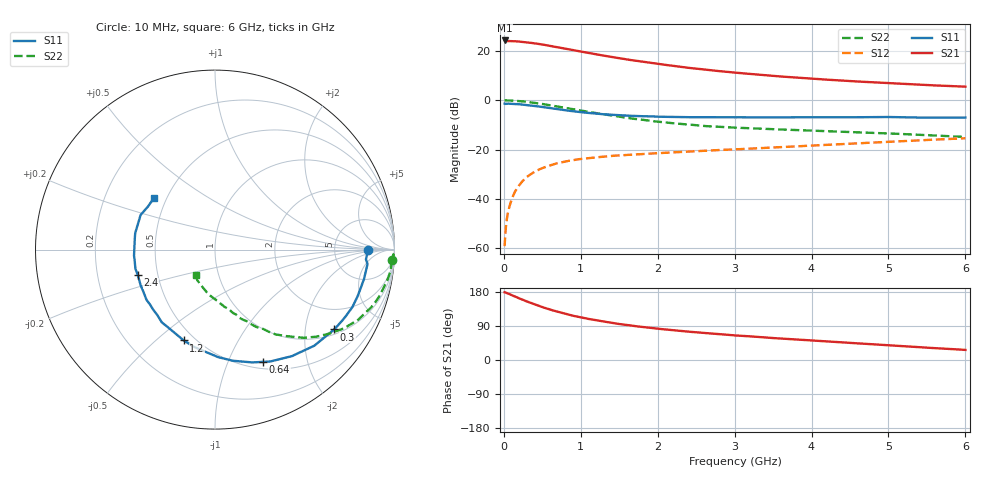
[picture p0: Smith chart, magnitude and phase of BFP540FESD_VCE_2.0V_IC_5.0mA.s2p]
! Infineon Technologies  Discrete & RF Semiconductors
! BFP540FESD
! VCE =  2.0 V,  IC =  5.0 mA
! Common Emitter S-Parameters:  Nov 2015
# GHz  S  MA  R  50
!  f  S11  S21  S12  S22
! GHz  MAG  ANG  MAG  ANG  MAG  ANG  MAG  ANG
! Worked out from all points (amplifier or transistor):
!   210 points, 10 MHz to 6 GHz, reference 50 ohm
!   highest |S21| = 24.2 dB at 10 MHz (marker M1)
!   |S21| within 3 dB of that: start of sweep to 742.8 MHz
!   unconditionally stable (mu >= 1): 2.727 GHz to end of sweep
!   at 185 MHz: K = 0.07, MSG = 29.5 dB, |S12| = -35.1 dB
!   at 1.52 GHz: K = 0.63, MSG = 19.6 dB, |S12| = -22.3 dB
!   at 6 GHz: K = 1.31, MAG = 7.1 dB, |S12| = -15.4 dB
!   S11 on the Smith chart (normalised r, x): 10 MHz: 13, -0; 300 MHz: 1.16, -2.87; 640 MHz: 0.58, -1.35; 1.2 GHz: 0.44, -0.62; 2.4 GHz: 0.38, -0.14; 6 GHz: 0.43, +0.31
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0.01  0.8525 -0.3  16.3 178.8  0.0011 74.1  0.9907 -3.5
0.02  0.8427 -3.7  15.83 178.3  0.002 72.8  0.9946 -1.5
0.045  0.8519 -5.1  15.88 176.3  0.0045 86.4  0.9885 -3.1
0.08  0.8482 -8.8  15.83 173.2  0.0077 87.3  0.9858 -5.5
0.15  0.8369 -17.7  15.77 167.2  0.0145 82.0  0.9742 -10.3
0.2  0.8298 -22.7  15.48 162.6  0.0189 79.3  0.9595 -13.7
0.3  0.7997 -33.8  14.96 154.4  0.0279 73.3  0.9288 -20.1
0.4  0.7698 -44.1  14.27 146.7  0.0355 68.6  0.8886 -26.1
0.5  0.732 -54.2  13.53 139.4  0.0421 63.6  0.8407 -31.5
0.64  0.6805 -66.7  12.32 130.7  0.0498 58.4  0.7729 -37.9
0.8  0.627 -80.9  11.12 121.7  0.0574 53.4  0.6989 -44.7
0.9  0.5994 -88.3  10.38 116.7  0.0611 50.9  0.656 -47.9
1.02  0.5685 -96.5  9.587 111.7  0.065 48.4  0.611 -51.6
1.2  0.5353 -109.0  8.508 104.7  0.0695 45.2  0.5482 -56.7
1.5  0.502 -126.2  7.116 95.0  0.0762 42.1  0.4648 -63.9
1.74  0.4775 -137.4  6.236 88.6  0.0801 40.3  0.4124 -69.2
2.02  0.463 -149.2  5.418 82.2  0.0846 39.1  0.3649 -74.4
2.4  0.453 -161.6  4.547 74.8  0.0905 38.1  0.3234 -80.5
3.1  0.451 -177.6  3.524 63.7  0.1026 37.5  0.2744 -90.6
4.1  0.4531 166.9  2.675 50.3  0.1223 36.4  0.2388 -101.8
5.1  0.454 153.6  2.185 37.6  0.1462 33.1  0.2093 -113.2
6  0.4456 139.9  1.885 26.6  0.1694 28.8  0.1803 -127.0
